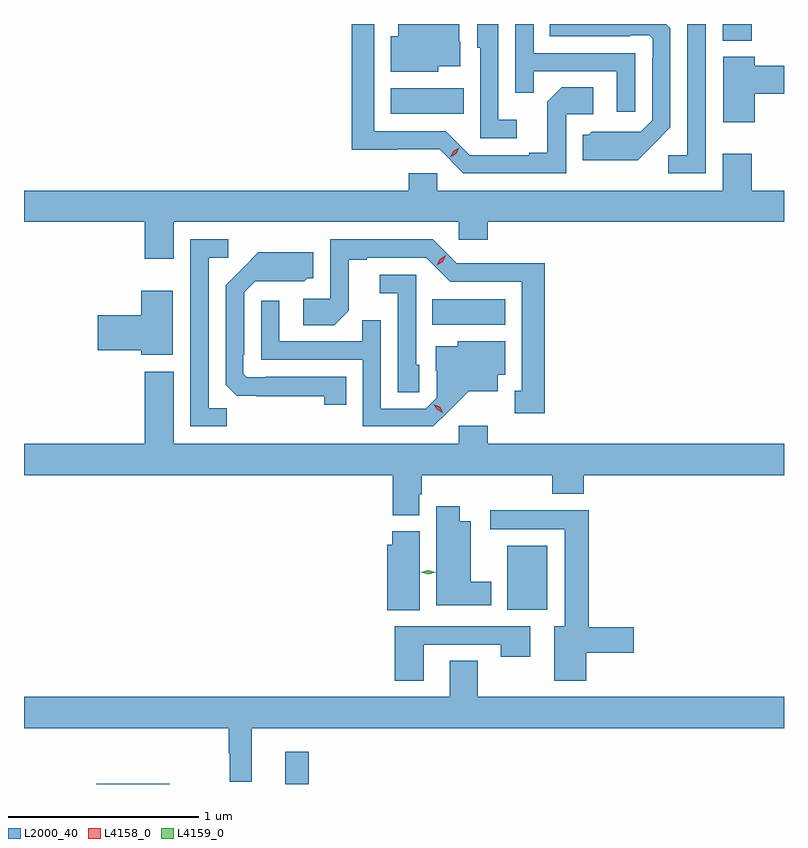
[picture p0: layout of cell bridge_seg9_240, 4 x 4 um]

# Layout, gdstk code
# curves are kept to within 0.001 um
import gdstk
lib = gdstk.Library(unit=1e-6, precision=1e-09)
def R(c, l, rs):  # rectangles x0, y0, x1, y1
    for r in rs: c.add(gdstk.rectangle(r[:2], r[2:], *l))
def P(c, l, *ps):  # polygons
    for p in ps: c.add(gdstk.Polygon(p, *l))
L2000_40 = (2000, 40)
L4158_0 = (4158, 0)
L4159_0 = (4159, 0)

bridge_seg9_240 = lib.new_cell('bridge_seg9_240')
R(bridge_seg9_240, L2000_40, [(253.482,1194.794,253.867,1194.795), (254.477,1194.794,254.599,1194.964), (255.644,1195.712,255.856,1196.047), (255.25,1197.212,255.634,1197.346), (255.032,1198.322,255.416,1198.456), (256.778,1198.706,256.931,1198.794)])
P(bridge_seg9_240, L2000_40, [(256.317,1198.641),(255.783,1198.641),(255.783,1198.794),(255.687,1198.794),(255.687,1198.432),(255.785,1198.432),(255.785,1198.545),(256.221,1198.545),(256.221,1198.332),(256.317,1198.332)],
  [(255.282,1198.571),(255.397,1198.571),(255.397,1198.7),(255.393,1198.7),(255.393,1198.794),(255.071,1198.794),(255.071,1198.729),(255.032,1198.729),(255.032,1198.544),(255.282,1198.544)],
  [(256.689,1198.794),(256.593,1198.794),(256.593,1198.104),(256.491,1198.104),(256.491,1198.008),(256.689,1198.008)],
  [(256.411,1198.157),(256.503,1198.25),(256.503,1198.772),(256.481,1198.794),(255.868,1198.794),(255.868,1198.73),(256.292,1198.73),(256.292,1198.734),(256.392,1198.734),(256.41,1198.716),(256.41,1198.616),(256.407,1198.616),(256.407,1198.287),(256.347,1198.227),(256.09,1198.228),(256.074,1198.212),(256.043,1198.212),(256.043,1198.076),(256.331,1198.076)],
  [(255.954,1198.32),(256.096,1198.32),(256.096,1198.46),(255.931,1198.46),(255.855,1198.384),(255.855,1198.117),(255.761,1198.117),(255.761,1198.104),(255.447,1198.104),(255.321,1198.23),(254.944,1198.23),(254.944,1198.794),(254.826,1198.794),(254.826,1198.133),(255.288,1198.134),(255.414,1198.008),(255.954,1198.008)],
  [(255.694,1198.291),(255.597,1198.291),(255.597,1198.794),(255.486,1198.794),(255.486,1198.668),(255.501,1198.668),(255.501,1198.194),(255.694,1198.194)],
  [(256.948,1198.427),(257.101,1198.427),(257.101,1198.574),(256.948,1198.574),(256.948,1198.621),(256.781,1198.621),(256.781,1198.278),(256.948,1198.278)],
  [(253.888,1197.752),(255.39,1197.752),(255.39,1197.659),(255.542,1197.659),(255.542,1197.752),(257.101,1197.752),(257.101,1197.916),(256.931,1197.916),(256.931,1198.111),(256.778,1198.111),(256.778,1197.916),(255.276,1197.916),(255.276,1198.009),(255.125,1198.009),(255.125,1197.916),(253.101,1197.916),(253.101,1197.752),(253.736,1197.752),(253.736,1197.558),(253.888,1197.558)],
  [(254.169,1196.771),(254.073,1196.771),(254.073,1197.564),(254.176,1197.564),(254.176,1197.66),(253.977,1197.66),(253.977,1196.676),(254.169,1196.676)],
  [(255.841,1197.536),(255.6,1197.536),(255.6,1197.534),(255.378,1197.534),(255.252,1197.66),(254.712,1197.66),(254.712,1197.348),(254.571,1197.348),(254.571,1197.208),(254.735,1197.208),(254.811,1197.284),(254.811,1197.552),(254.905,1197.552),(254.905,1197.564),(255.219,1197.564),(255.345,1197.438),(255.722,1197.438),(255.722,1196.865),(255.683,1196.865),(255.683,1196.745),(255.841,1196.745)],
  [(254.798,1196.937),(254.374,1196.937),(254.374,1196.934),(254.274,1196.934),(254.256,1196.952),(254.256,1197.052),(254.259,1197.052),(254.259,1197.381),(254.319,1197.441),(254.576,1197.44),(254.592,1197.456),(254.623,1197.456),(254.623,1197.592),(254.335,1197.592),(254.163,1197.418),(254.163,1196.896),(254.222,1196.837),(254.68,1196.836),(254.68,1196.79),(254.798,1196.79)],
  [(255.18,1197),(255.165,1197),(255.165,1197.474),(254.973,1197.474),(254.973,1197.377),(255.069,1197.377),(255.069,1196.857),(255.18,1196.857)],
  [(253.885,1197.391),(253.718,1197.391),(253.718,1197.26),(253.488,1197.26),(253.488,1197.077),(253.718,1197.077),(253.718,1197.053),(253.885,1197.053)],
  [(255.34,1196.759),(255.443,1196.861),(255.595,1196.861),(255.595,1196.948),(255.634,1196.948),(255.634,1197.124),(255.384,1197.124),(255.384,1197.097),(255.269,1197.097),(255.269,1196.968),(255.273,1196.968),(255.273,1196.826),(255.216,1196.769),(254.979,1196.769),(254.979,1197.236),(254.881,1197.236),(254.881,1197.123),(254.445,1197.123),(254.445,1197.337),(254.349,1197.337),(254.349,1197.027),(254.883,1197.027),(254.883,1196.676),(255.256,1196.676)],
  [(255.181,1196.319),(255.194,1196.319),(255.194,1196.42),(255.881,1196.42),(255.881,1196.321),(256.046,1196.321),(256.046,1196.42),(257.101,1196.42),(257.101,1196.584),(255.542,1196.584),(255.542,1196.68),(255.39,1196.68),(255.39,1196.584),(253.888,1196.584),(253.888,1196.965),(253.736,1196.965),(253.736,1196.584),(253.101,1196.584),(253.101,1196.42),(255.041,1196.42),(255.041,1196.209),(255.181,1196.209)],
  [(255.559,1195.858),(255.451,1195.858),(255.451,1196.176),(255.394,1196.176),(255.394,1196.257),(255.272,1196.257),(255.272,1195.736),(255.559,1195.736)],
  [(256.06,1195.484),(256.309,1195.484),(256.309,1195.619),(256.073,1195.619),(256.073,1196.234),(255.555,1196.234),(255.555,1196.136),(255.947,1196.136),(255.947,1195.624),(255.893,1195.624),(255.893,1195.338),(256.06,1195.338)],
  [(255.184,1196.124),(255.038,1196.124),(255.038,1196.052),(255.014,1196.052),(255.014,1195.708),(255.184,1195.708)],
  [(255.205,1195.527),(255.61,1195.527),(255.61,1195.464),(255.766,1195.464),(255.766,1195.623),(255.053,1195.623),(255.053,1195.338),(255.205,1195.338)],
  [(254.299,1195.088),(257.101,1195.088),(257.101,1195.252),(255.489,1195.252),(255.489,1195.442),(255.341,1195.442),(255.341,1195.252),(253.101,1195.252),(253.101,1195.088),(254.178,1195.088),(254.178,1194.956),(254.185,1194.956),(254.185,1194.807),(254.299,1194.807)])
P(bridge_seg9_240, L4158_0, [(255.344,1198.092),(255.344,1198.092),(255.361,1198.125),(255.393,1198.144),(255.393,1198.144),(255.393,1198.144),(255.376,1198.112),(255.345,1198.092)],
  [(255.273,1197.523),(255.273,1197.523),(255.29,1197.556),(255.321,1197.576),(255.321,1197.576),(255.321,1197.576),(255.305,1197.543),(255.273,1197.523)],
  [(255.306,1196.749),(255.275,1196.765),(255.258,1196.794),(255.258,1196.794),(255.258,1196.794),(255.289,1196.779),(255.306,1196.75),(255.306,1196.749)])
P(bridge_seg9_240, L4159_0, [(255.229,1195.899),(255.19,1195.908),(255.19,1195.909),(255.19,1195.909),(255.229,1195.919),(255.268,1195.909),(255.268,1195.909),(255.268,1195.908)])

lib.write_gds('bridge_seg9_240.gds')
